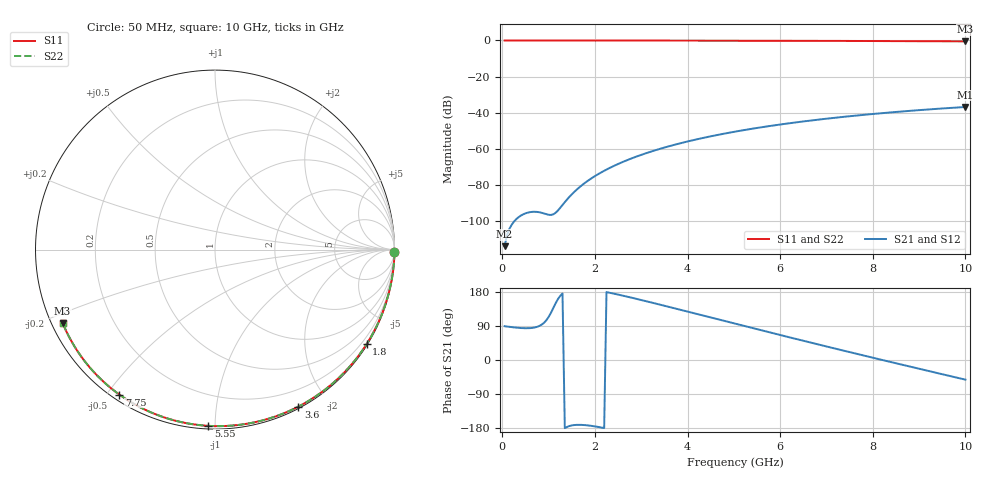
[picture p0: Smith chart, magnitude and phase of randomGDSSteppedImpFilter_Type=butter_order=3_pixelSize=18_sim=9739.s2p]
! freq	dB(S11)	phase(S11)	dB(S12)	phase(S12)
!  dB(S21)	phase(S21)	dB(S22)	phase(S22)
!S-par simulation data
#  GHz  S  DB  R 50
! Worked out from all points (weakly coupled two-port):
!   200 points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, 50 MHz to 10 GHz, reference 50 ohm
!   highest |S21| = -36.90 dB at 10 GHz (marker M1); lowest = -114.1 dB at 50 MHz (marker M2)
!   lowest |S11| = -0.5 dB at 10 GHz (marker M3), VSWR 33.65, Z = 1.56 - j11.4 ohm
!   |S11| at or under -10 dB: nowhere
!   |S22| runs from -0.5 to 0.0 dB; largest |S21 - S12| = 0
!   S11 on the Smith chart (normalised r, x): 50 MHz: open; 1.8 GHz: 0.03, -3.50; 3.6 GHz: 0.02, -1.66; 5.55 GHz: 0.02, -0.96; 7.75 GHz: 0.02, -0.54; 10 GHz: 0.03, -0.23
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0.05  -0.00 -0.9  -114.10 89.2  -114.10 89.2  -0.00 -0.9
0.45  -0.01 -8.1  -96.45 84.0  -96.45 84.0  -0.01 -8.1
0.9  -0.02 -16.1  -95.97 98.1  -95.97 98.1  -0.02 -16.1
1.7  -0.04 -30.1  -80.69 -171.2  -80.69 -171.2  -0.04 -30.1
1.75  -0.04 -31.0  -79.67 -171.5  -79.67 -171.5  -0.04 -31.0
1.8  -0.04 -31.9  -78.70 -172.0  -78.70 -172.0  -0.04 -31.9
1.95  -0.04 -34.5  -76.05 -174.3  -76.05 -174.3  -0.04 -34.5
2.1  -0.05 -37.0  -73.71 -177.3  -73.71 -177.3  -0.05 -37.0
2.3  -0.05 -40.5  -70.95 177.9  -70.95 177.9  -0.05 -40.5
2.5  -0.06 -43.9  -68.52 172.7  -68.52 172.7  -0.06 -43.9
2.9  -0.07 -50.6  -64.37 161.3  -64.37 161.3  -0.07 -50.6
3.4  -0.08 -58.8  -60.15 146.3  -60.15 146.3  -0.08 -58.8
3.6  -0.08 -62.0  -58.68 140.1  -58.68 140.1  -0.08 -62.0
4.3  -0.10 -73.2  -54.26 118.5  -54.26 118.5  -0.10 -73.2
5.05  -0.13 -84.7  -50.47 95.2  -50.47 95.2  -0.13 -84.7
5.55  -0.15 -92.2  -48.33 79.8  -48.33 79.8  -0.15 -92.2
6.1  -0.18 -100.2  -46.26 62.9  -46.26 62.9  -0.18 -100.2
6.7  -0.21 -108.8  -44.29 44.7  -44.29 44.7  -0.21 -108.8
7.75  -0.29 -123.4  -41.39 13.4  -41.39 13.4  -0.29 -123.4
8.35  -0.34 -131.7  -39.99 -4.2  -39.99 -4.2  -0.34 -131.7
9.2  -0.42 -143.3  -38.27 -28.9  -38.27 -28.9  -0.42 -143.3
10  -0.52 -154.3  -36.90 -51.8  -36.90 -51.8  -0.52 -154.3
